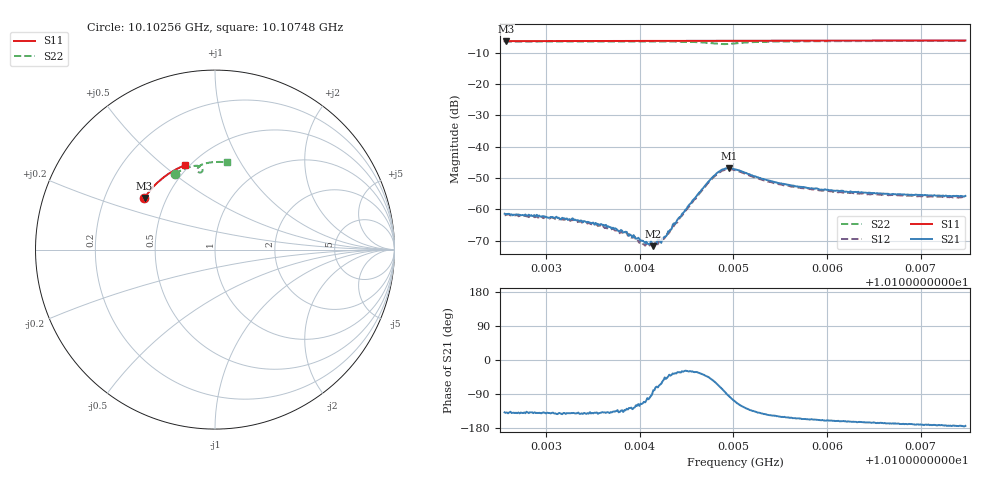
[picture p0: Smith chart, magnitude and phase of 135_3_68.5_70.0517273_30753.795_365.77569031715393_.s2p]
#  HZ  S  RI  R  50.00
! Rohde & Schwarz Vector Network Analyzer
! Rohde-Schwarz,ZNB20-2Port,1311601062101988,3.16
! Created: UTC 3/20/2024, 5:09:47 PM
! freq[Hz]  re:S11  im:S11  re:S21  im:S21  re:S12  im:S12  re:S22  im:S22
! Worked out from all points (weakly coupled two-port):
!   401 points, 10.10256 GHz to 10.10748 GHz, reference 50 ohm
!   highest |S21| = -46.82 dB at 10.10496 GHz (marker M1); lowest = -71.8 dB at 10.10415 GHz (marker M2)
!   lowest |S11| = -6.3 dB at 10.10257 GHz (marker M3), VSWR 2.90, Z = 18.9 + j14.2 ohm
!   |S11| at or under -10 dB: nowhere
!   |S22| runs from -7.2 to -6.2 dB; largest |S21 - S12| = 0.00047
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1.010256e10  -0.3931 0.2868  -0.000635 -0.000568  -0.000552 -0.00058  -0.2252 0.4227
1.0102572e10  -0.3927 0.2873  -0.000636 -0.000548  -0.000574 -0.000575  -0.2245 0.423
1.0102904e10  -0.3813 0.304  -0.000622 -0.000532  -0.000535 -0.000552  -0.2054 0.4337
1.0103015e10  -0.3772 0.3095  -0.000559 -0.000487  -0.000529 -0.000523  -0.1988 0.437
1.0103384e10  -0.3634 0.3273  -0.000509 -0.000416  -0.000443 -0.000424  -0.1765 0.4474
1.0103617e10  -0.3543 0.338  -0.000423 -0.000375  -0.000356 -0.000384  -0.1617 0.4534
1.0103863e10  -0.3444 0.3491  -0.000272 -0.00034  -0.000251 -0.000337  -0.1452 0.4592
1.010406e10  -0.3362 0.3577  -0.000107 -0.000268  -7.03e-05 -0.000253  -0.1311 0.4632
1.0104146e10  -0.3324 0.3616  4.5e-05 -0.000254  2.84e-05 -0.000261  -0.1247 0.4646
1.0104158e10  -0.332 0.3621  5.11e-05 -0.000282  7.23e-05 -0.000279  -0.1236 0.4649
1.0104208e10  -0.3298 0.3642  0.000124 -0.000306  0.00013 -0.000276  -0.1198 0.4656
1.0104257e10  -0.3276 0.3663  0.000214 -0.000281  0.000228 -0.000244  -0.1159 0.4662
1.0104539e10  -0.3151 0.378  0.00107 -0.000596  0.00106 -0.000479  -0.0898 0.4657
1.0104761e10  -0.305 0.3869  0.00198 -0.00233  0.00207 -0.00202  -0.0692 0.4477
1.0104859e10  -0.3004 0.3905  0.00132 -0.0039  0.00162 -0.00359  -0.0735 0.4327
1.0104957e10  -0.2961 0.3943  -0.000487 -0.00453  -4.15e-05 -0.00437  -0.0892 0.4305
1.0105019e10  -0.2932 0.3966  -0.00144 -0.00412  -0.00105 -0.0041  -0.0958 0.4378
1.0105449e10  -0.2727 0.4127  -0.00228 -0.00147  -0.00204 -0.00157  -0.0722 0.4741
1.0105843e10  -0.253 0.4262  -0.00199 -0.000863  -0.00182 -0.000971  -0.0428 0.4828
1.0106211e10  -0.2338 0.4378  -0.00184 -0.00056  -0.00168 -0.000747  -0.017 0.4866
1.0106666e10  -0.21 0.4511  -0.0017 -0.000374  -0.00161 -0.000506  0.0135 0.4885
1.0107478e10  -0.165 0.471  -0.00163 -0.000176  -0.00151 -0.000313  0.0665 0.4863
